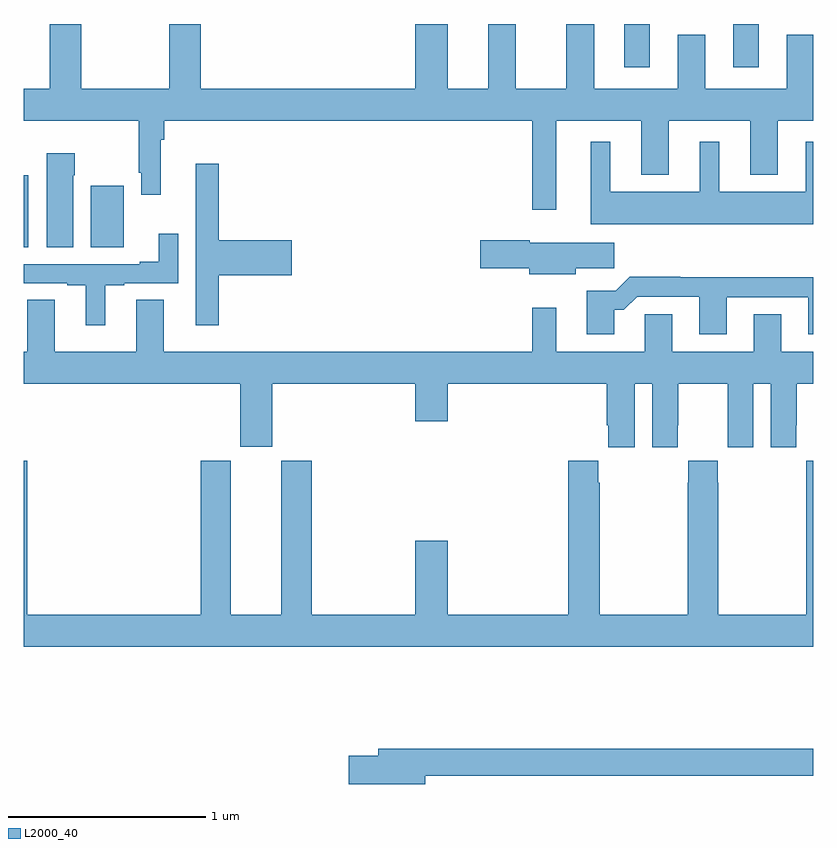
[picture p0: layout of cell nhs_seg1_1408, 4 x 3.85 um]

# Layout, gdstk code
import gdstk
lib = gdstk.Library(unit=1e-6, precision=1e-09)
def R(c, l, rs):  # rectangles x0, y0, x1, y1
    for r in rs: c.add(gdstk.rectangle(r[:2], r[2:], *l))
def P(c, l, *ps):  # polygons
    for p in ps: c.add(gdstk.Polygon(p, *l))
L2000_40 = (2000, 40)

nhs_seg1_1408 = lib.new_cell('nhs_seg1_1408')
R(nhs_seg1_1408, L2000_40, [(187,575.068,187.024,575.434), (187.34,575.068,187.507,575.38), (190.043,575.979,190.171,576.199), (190.595,575.979,190.723,576.199)])
P(nhs_seg1_1408, L2000_40, [(189.697,575.708),(190.127,575.708),(190.127,575.435),(190.267,575.435),(190.267,575.708),(190.679,575.708),(190.679,575.435),(190.819,575.435),(190.819,575.708),(191,575.708),(191,576.145),(190.865,576.145),(190.865,575.872),(190.453,575.872),(190.453,576.145),(190.313,576.145),(190.313,575.872),(189.889,575.872),(189.889,576.199),(189.749,576.199),(189.749,575.872),(189.493,575.872),(189.493,576.199),(189.353,576.199),(189.353,575.872),(189.148,575.872),(189.148,576.199),(188.984,576.199),(188.984,575.872),(187.898,575.872),(187.898,576.199),(187.738,576.199),(187.738,575.872),(187.293,575.872),(187.293,576.199),(187.133,576.199),(187.133,575.872),(187,575.872),(187,575.708),(187.584,575.708),(187.584,575.446),(187.596,575.446),(187.596,575.334),(187.694,575.334),(187.694,575.612),(187.712,575.612),(187.712,575.708),(189.576,575.708),(189.576,575.259),(189.697,575.259)],
  [(191,575.602),(190.961,575.602),(190.961,575.35),(190.522,575.35),(190.522,575.602),(190.424,575.602),(190.424,575.35),(189.97,575.35),(189.97,575.602),(189.872,575.602),(189.872,575.186),(191,575.186)],
  [(187.252,575.432),(187.26,575.432),(187.26,575.545),(187.118,575.545),(187.118,575.068),(187.252,575.068)],
  [(187.988,574.927),(188.359,574.927),(188.359,575.105),(187.988,575.105),(187.988,575.491),(187.871,575.491),(187.871,575.188),(187.872,575.188),(187.872,574.674),(187.988,574.674)],
  [(187.414,574.875),(187.51,574.875),(187.51,574.887),(187.782,574.887),(187.782,575.137),(187.685,575.137),(187.685,574.996),(187.589,574.996),(187.589,574.983),(187,574.983),(187,574.887),(187.22,574.887),(187.22,574.875),(187.316,574.875),(187.316,574.674),(187.414,574.674)],
  [(189.796,574.963),(189.991,574.963),(189.991,575.092),(189.564,575.092),(189.564,575.105),(189.312,575.105),(189.312,574.963),(189.56,574.963),(189.56,574.931),(189.796,574.931)],
  [(189.991,574.751),(190.04,574.751),(190.107,574.818),(190.421,574.818),(190.421,574.629),(190.561,574.629),(190.561,574.815),(190.973,574.815),(190.973,574.629),(191,574.629),(191,574.916),(190.325,574.916),(190.325,574.919),(190.07,574.919),(190,574.849),(189.851,574.849),(189.851,574.629),(189.991,574.629)],
  [(190.096,574.376),(190.184,574.376),(190.184,574.056),(190.314,574.056),(190.314,574.168),(190.315,574.168),(190.315,574.376),(190.565,574.376),(190.565,574.168),(190.566,574.168),(190.566,574.056),(190.696,574.056),(190.696,574.376),(190.784,574.376),(190.784,574.056),(190.914,574.056),(190.914,574.168),(190.915,574.168),(190.915,574.376),(191,574.376),(191,574.54),(190.837,574.54),(190.837,574.73),(190.697,574.73),(190.697,574.54),(190.285,574.54),(190.285,574.73),(190.146,574.73),(190.146,574.54),(189.697,574.54),(189.697,574.762),(189.576,574.762),(189.576,574.54),(187.711,574.54),(187.711,574.802),(187.571,574.802),(187.571,574.54),(187.159,574.54),(187.159,574.802),(187.019,574.802),(187.019,574.54),(187,574.54),(187,574.376),(188.096,574.376),(188.096,574.059),(188.26,574.059),(188.26,574.376),(188.984,574.376),(188.984,574.188),(189.148,574.188),(189.148,574.376),(189.953,574.376),(189.953,574.168),(189.962,574.168),(189.962,574.056),(190.096,574.056)],
  [(191,573.988),(190.965,573.988),(190.965,573.875),(190.963,573.875),(190.963,573.208),(190.518,573.208),(190.518,573.875),(190.515,573.875),(190.515,573.988),(190.365,573.988),(190.365,573.875),(190.363,573.875),(190.363,573.208),(189.918,573.208),(189.918,573.875),(189.911,573.875),(189.911,573.988),(189.758,573.988),(189.758,573.208),(189.148,573.208),(189.148,573.583),(188.984,573.583),(188.984,573.208),(188.459,573.208),(188.459,573.987),(188.306,573.987),(188.306,573.208),(188.05,573.208),(188.05,573.987),(187.898,573.987),(187.898,573.208),(187.019,573.208),(187.019,573.988),(187,573.988),(187,573.044),(191,573.044)],
  [(189.034,572.392),(191,572.392),(191,572.528),(188.795,572.528),(188.795,572.492),(188.646,572.492),(188.646,572.35),(189.034,572.35)])

lib.write_gds('nhs_seg1_1408.gds')
